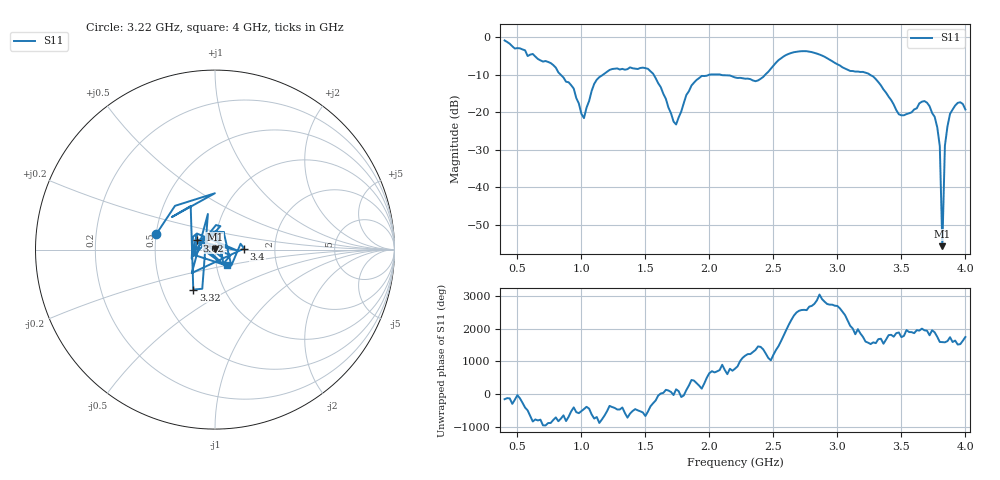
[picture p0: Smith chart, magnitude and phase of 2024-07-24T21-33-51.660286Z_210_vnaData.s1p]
!Created with skrf (http://scikit-rf.org).
# Hz S RI R 50.0
!freq ReS11 ImS11
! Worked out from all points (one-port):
!   181 points, 400 MHz to 4 GHz, reference 50 ohm
!   lowest |S11| = -55.7 dB at 3.82 GHz (marker M1), VSWR 1.00, Z = 49.9 + j0.0814 ohm
!   |S11| at or under -10 dB: 839.7 MHz to 1.166 GHz (326.7 MHz wide, 32.6 % of centre); 1.566 GHz to 1.994 GHz (428.4 MHz wide, 24.1 % of centre); 3.257 GHz to end of sweep (the widest 3 of 4)
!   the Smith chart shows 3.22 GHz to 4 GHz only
!   S11 on the Smith chart (normalised r, x): 3.22 GHz: 0.50, +0.10; 3.32 GHz: 0.72, -0.34; 3.4 GHz: 1.39, +0.02; 3.62 GHz: 0.81, +0.08; 4 GHz: 1.12, -0.20
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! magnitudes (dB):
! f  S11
! 400 MHz  -0.8
! 860 MHz  -10.7
! 940 MHz  -13.6
! 1.02 GHz  -21.5
! 1.12 GHz  -11.3
! 1.3 GHz  -8.6
! 1.52 GHz  -8.4
! 1.72 GHz  -22.4
! 1.76 GHz  -21.3
! 1.94 GHz  -10.3
! 2.2 GHz  -10.7
! 2.38 GHz  -11.5
! 2.66 GHz  -3.9
! 3.1 GHz  -8.9
! 3.22 GHz  -9.4
! 3.32 GHz  -11.9
! 3.4 GHz  -15.8
! 3.48 GHz  -20.5
! 3.56 GHz  -20.2
! 3.62 GHz  -18.9
! 3.7 GHz  -17.4
! 3.78 GHz  -23.9
! 3.8 GHz  -29.0
! 3.82 GHz  -55.7
! 3.84 GHz  -28.9
! 3.86 GHz  -23.7
! 3.94 GHz  -17.5
! 4 GHz  -19.2
